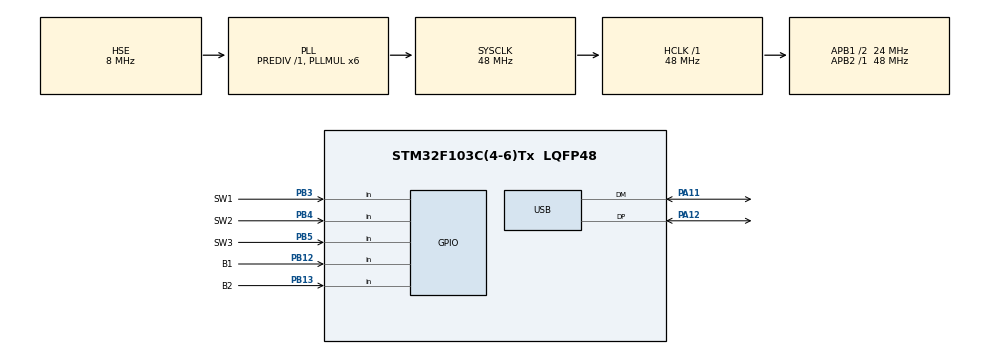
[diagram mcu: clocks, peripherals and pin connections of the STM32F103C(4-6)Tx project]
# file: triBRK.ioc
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Mcu.Family=STM32F1
Mcu.Name=STM32F103C(4-6)Tx
Mcu.Package=LQFP48
NVIC.PriorityGroup=NVIC_PRIORITYGROUP_4
NVIC.USB_LP_CAN1_RX0_IRQn=true\:0\:0\:false\:false\:true\:false\:true\:true
PA11.Mode=Device
PA11.Signal=USB_DM
PA12.Mode=Device
PA12.Signal=USB_DP
PA13.Mode=Serial_Wire
PA13.Signal=SYS_JTMS-SWDIO
PA14.Mode=Serial_Wire
PA14.Signal=SYS_JTCK-SWCLK
PB12.GPIO_Label=B1
PB12.GPIO_PuPd=GPIO_PULLUP
PB12.Signal=GPIO_Input
PB13.GPIO_Label=B2
PB13.GPIO_PuPd=GPIO_PULLUP
PB13.Signal=GPIO_Input
PB3.GPIO_Label=SW1
PB3.GPIO_PuPd=GPIO_PULLUP
PB3.Signal=GPIO_Input
PB4.GPIO_Label=SW2
PB4.GPIO_PuPd=GPIO_PULLUP
PB4.Signal=GPIO_Input
PB5.GPIO_Label=SW3
PB5.GPIO_PuPd=GPIO_PULLUP
PB5.Signal=GPIO_Input
PD0-OSC_IN.Mode=HSE-External-Oscillator
PD0-OSC_IN.Signal=RCC_OSC_IN
PD1-OSC_OUT.Mode=HSE-External-Oscillator
PD1-OSC_OUT.Signal=RCC_OSC_OUT
ProjectManager.HeapSize=0x200
ProjectManager.StackSize=0x400
ProjectManager.TargetToolchain=STM32CubeIDE
RCC.AHBFreq_Value=48000000
RCC.APB1CLKDivider=RCC_HCLK_DIV2
RCC.APB1Freq_Value=24000000
RCC.APB1TimFreq_Value=48000000
RCC.APB2Freq_Value=48000000
RCC.APB2TimFreq_Value=48000000
RCC.HCLKFreq_Value=48000000
RCC.PLLMUL=RCC_PLL_MUL6
RCC.SYSCLKFreq_VALUE=48000000
RCC.SYSCLKSource=RCC_SYSCLKSOURCE_PLLCLK
RCC.USBFreq_Value=48000000
USB_DEVICE.CLASS_NAME_FS=HID
USB_DEVICE.PRODUCT_STRING_HID_FS=triBRK
USB_DEVICE.VirtualMode=Hid
USB_DEVICE.VirtualModeFS=Hid_FS
VP_USB_DEVICE_VS_USB_DEVICE_HID_FS.Mode=HID_FS
board=custom

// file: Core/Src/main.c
/* USER CODE BEGIN Header */
/**
  ******************************************************************************
  * @file           : main.c
  * @brief          : Main program body
  ******************************************************************************
  * @attention
  *
  * Copyright (c) 2023 STMicroelectronics.
  * All rights reserved.
  *
  * This software is licensed under terms that can be found in the LICENSE file
  * in the root directory of this software component.
  * If no LICENSE file comes with this software, it is provided AS-IS.
  *
  ******************************************************************************
  */
/* USER CODE END Header */
#include "main.h"
#include "usb_device.h"
#include "stdbool.h"

/* USER CODE BEGIN PV */
extern USBD_HandleTypeDef hUsbDeviceFS;

typedef struct
{
	uint8_t MODIFIER;
	uint8_t RESERVED;
	uint8_t KEYCODE1;
	uint8_t KEYCODE2;
	uint8_t KEYCODE3;
	uint8_t KEYCODE4;
	uint8_t KEYCODE5;
	uint8_t KEYCODE6;
}subKeyBoard;

subKeyBoard keyBoardHIDsub = {0,0,0,0,0,0,0,0};
/* USER CODE END PV */

void SystemClock_Config(void);
static void MX_GPIO_Init(void);

int main(void)
{

  /* MCU Configuration--------------------------------------------------------*/

  /* Reset of all peripherals, Initializes the Flash interface and the Systick. */
  HAL_Init();

  /* Configure the system clock */
  SystemClock_Config();

  /* Initialize all configured peripherals */
  MX_GPIO_Init();
  MX_USB_DEVICE_Init();

  /* Infinite loop */
  while (1)
  {

    /* USER CODE BEGIN 3 */

	  bool SW1status = !HAL_GPIO_ReadPin (GPIOB, GPIO_PIN_3);
	  bool SW2status = !HAL_GPIO_ReadPin (GPIOB, GPIO_PIN_4);
	  bool SW3status = !HAL_GPIO_ReadPin (GPIOB, GPIO_PIN_5);

	  bool B1status = !HAL_GPIO_ReadPin (GPIOB, GPIO_PIN_12);
	  bool B2status = !HAL_GPIO_ReadPin (GPIOB, GPIO_PIN_13);

	  if(SW1status) {
		  keyBoardHIDsub.MODIFIER=0x01;
	  } else {
		  keyBoardHIDsub.MODIFIER=0x00;
	  }

	  if(SW2status && SW3status) {
		  keyBoardHIDsub.KEYCODE1=0x06;
		  keyBoardHIDsub.KEYCODE2=0x19;
	  }
	  if(SW2status && !SW3status) {
	  		  keyBoardHIDsub.KEYCODE1=0x06;
	  		  keyBoardHIDsub.KEYCODE2=0x00;
	  }
	  if(!SW2status && !SW3status) {
	  		  keyBoardHIDsub.KEYCODE1=0x00;
	  		  keyBoardHIDsub.KEYCODE2=0x00;
	  }
	  if(!SW2status && SW3status) {
			  keyBoardHIDsub.KEYCODE1=0x19;
			  keyBoardHIDsub.KEYCODE2=0x00;
	  }

	  USBD_HID_SendReport(&hUsbDeviceFS, &keyBoardHIDsub,sizeof(keyBoardHIDsub));
	  HAL_Delay(10);

//	  keyBoardHIDsub.MODIFIER=0x02;  // To press shift key
//	  keyBoardHIDsub.KEYCODE1=0x04;  // Press A key
//	  keyBoardHIDsub.KEYCODE2=0x05;  // Press B key
//	  keyBoardHIDsub.KEYCODE3=0x06;  // Press C key
//	  USBD_HID_SendReport(&hUsbDeviceFS,&keyBoardHIDsub,sizeof(keyBoardHIDsub));
//	  HAL_Delay(50); 		       // Press all key for 50 milliseconds
//	  keyBoardHIDsub.MODIFIER=0x00;  // To release shift key
//	  keyBoardHIDsub.KEYCODE1=0x00;  // Release A key
//	  keyBoardHIDsub.KEYCODE2=0x00;  // Release B key
//	  keyBoardHIDsub.KEYCODE3=0x00;  // Release C key
//	  USBD_HID_SendReport(&hUsbDeviceFS,&keyBoardHIDsub,sizeof(keyBoardHIDsub));
//	  HAL_Delay(1000); 	       // Repeat this task on every 1 second
  }
  /* USER CODE END 3 */
}

void SystemClock_Config(void)
{
  RCC_OscInitTypeDef RCC_OscInitStruct = {0};
  RCC_ClkInitTypeDef RCC_ClkInitStruct = {0};
  RCC_PeriphCLKInitTypeDef PeriphClkInit = {0};

  /** Initializes the RCC Oscillators according to the specified parameters
  * in the RCC_OscInitTypeDef structure.
  */
  RCC_OscInitStruct.OscillatorType = RCC_OSCILLATORTYPE_HSE;
  RCC_OscInitStruct.HSEState = RCC_HSE_ON;
  RCC_OscInitStruct.HSEPredivValue = RCC_HSE_PREDIV_DIV1;
  RCC_OscInitStruct.HSIState = RCC_HSI_ON;
  RCC_OscInitStruct.PLL.PLLState = RCC_PLL_ON;
  RCC_OscInitStruct.PLL.PLLSource = RCC_PLLSOURCE_HSE;
  RCC_OscInitStruct.PLL.PLLMUL = RCC_PLL_MUL6;
  if (HAL_RCC_OscConfig(&RCC_OscInitStruct) != HAL_OK)
  {
    Error_Handler();
  }

  /** Initializes the CPU, AHB and APB buses clocks
  */
  RCC_ClkInitStruct.ClockType = RCC_CLOCKTYPE_HCLK|RCC_CLOCKTYPE_SYSCLK
                              |RCC_CLOCKTYPE_PCLK1|RCC_CLOCKTYPE_PCLK2;
  RCC_ClkInitStruct.SYSCLKSource = RCC_SYSCLKSOURCE_PLLCLK;
  RCC_ClkInitStruct.AHBCLKDivider = RCC_SYSCLK_DIV1;
  RCC_ClkInitStruct.APB1CLKDivider = RCC_HCLK_DIV2;
  RCC_ClkInitStruct.APB2CLKDivider = RCC_HCLK_DIV1;

  if (HAL_RCC_ClockConfig(&RCC_ClkInitStruct, FLASH_LATENCY_1) != HAL_OK)
  {
    Error_Handler();
  }
  PeriphClkInit.PeriphClockSelection = RCC_PERIPHCLK_USB;
  PeriphClkInit.UsbClockSelection = RCC_USBCLKSOURCE_PLL;
  if (HAL_RCCEx_PeriphCLKConfig(&PeriphClkInit) != HAL_OK)
  {
    Error_Handler();
  }
}

static void MX_GPIO_Init(void)
{
  GPIO_InitTypeDef GPIO_InitStruct = {0};

  /* GPIO Ports Clock Enable */
  __HAL_RCC_GPIOD_CLK_ENABLE();
  __HAL_RCC_GPIOB_CLK_ENABLE();
  __HAL_RCC_GPIOA_CLK_ENABLE();

  /*Configure GPIO pins : B1_Pin B2_Pin SW1_Pin SW2_Pin
                           SW3_Pin */
  GPIO_InitStruct.Pin = B1_Pin|B2_Pin|SW1_Pin|SW2_Pin
                          |SW3_Pin;
  GPIO_InitStruct.Mode = GPIO_MODE_INPUT;
  GPIO_InitStruct.Pull = GPIO_PULLUP;
  HAL_GPIO_Init(GPIOB, &GPIO_InitStruct);

}

void Error_Handler(void)
{
  __disable_irq();
  while (1)
  {
  }
}
